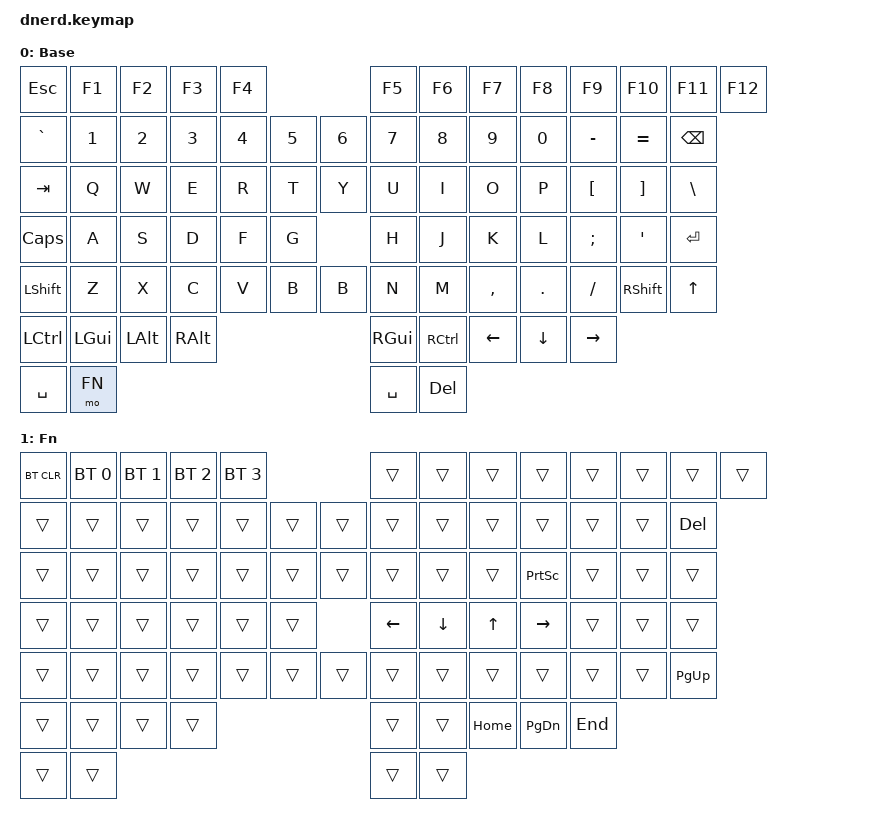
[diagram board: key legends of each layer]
#include <behaviors.dtsi>
#include <dt-bindings/zmk/keys.h>
#include <dt-bindings/zmk/bt.h>

#define FN 1

/ {
    keymap {
        compatible = "zmk,keymap";

        default_layer {
            display-name = "Base";
            bindings = <
// F row
&kp ESC   &kp F1  &kp F2  &kp F3  &kp F4                      &kp F5  &kp F6  &kp F7  &kp F8  &kp F9    &kp F10   &kp F11   &kp F12
// numbers
&kp GRAVE &kp N1  &kp N2  &kp N3  &kp N4  &kp N5  &kp N6      &kp N7  &kp N8  &kp N9  &kp N0  &kp MINUS &kp EQUAL &kp BSPC
// top
&kp TAB   &kp Q   &kp W   &kp E   &kp R   &kp T               &kp Y   &kp U   &kp I   &kp O   &kp P     &kp LBKT  &kp RBKT  &kp BSLH
// home
&kp CAPS  &kp A   &kp S   &kp D   &kp F   &kp G               &kp H   &kp J   &kp K   &kp L   &kp SEMI  &kp SQT   &kp RET
// bottom
&kp LSHFT &kp Z   &kp X   &kp C   &kp V   &kp B               &kp B   &kp N   &kp M   &kp COMMA &kp DOT &kp FSLH  &kp RSHFT &kp UP
// mods  (RAlt = 한/영 on Windows Korean IME)
&kp LCTRL &kp LGUI &kp LALT &kp RALT                          &kp RGUI &kp RCTRL &kp LEFT &kp DOWN &kp RIGHT
// thumbs: L1 L2 | R1 R2
&kp SPACE &mo FN                                              &kp SPACE &kp DEL
            >;
        };

        fn_layer {
            display-name = "Fn";
            bindings = <
&bt BT_CLR &bt BT_SEL 0 &bt BT_SEL 1 &bt BT_SEL 2 &bt BT_SEL 3     &trans &trans &trans &trans &trans &trans &trans &trans
&trans &trans &trans &trans &trans &trans &trans                    &trans &trans &trans &trans &trans &trans &kp DEL
&trans &trans &trans &trans &trans &trans                           &trans &trans &trans &trans &kp PSCRN &trans &trans &trans
&trans &trans &trans &trans &trans &trans                           &kp LEFT &kp DOWN &kp UP &kp RIGHT &trans &trans &trans
&trans &trans &trans &trans &trans &trans                           &trans &trans &trans &trans &trans &trans &trans &kp PG_UP
&trans &trans &trans &trans                                         &trans &trans &kp HOME &kp PG_DN &kp END
&trans &trans                                                       &trans &trans
            >;
        };
    };
};
